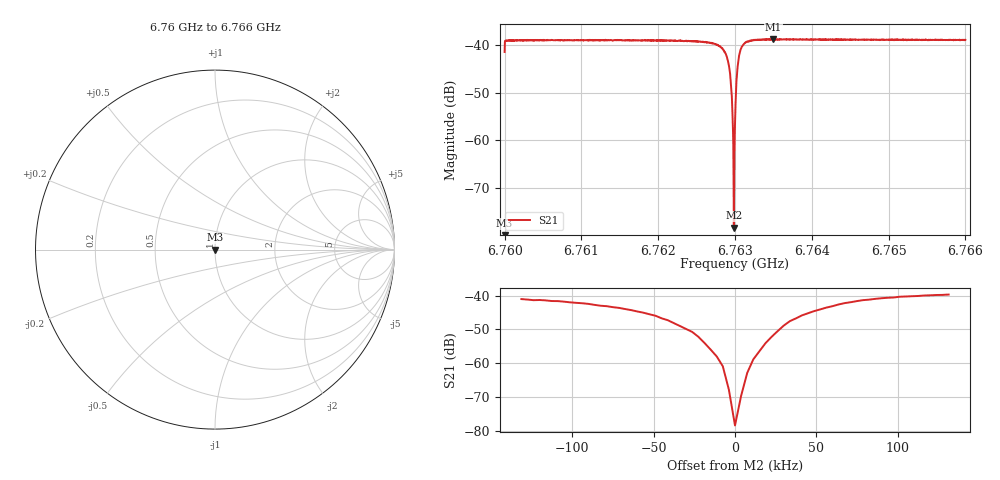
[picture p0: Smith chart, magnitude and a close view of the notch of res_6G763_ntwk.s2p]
!Created with skrf (http://scikit-rf.org).
# Hz S RI R 50.0
!freq ReS11 ImS11 ReS21 ImS21 ReS12 ImS12 ReS22 ImS22
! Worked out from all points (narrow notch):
!   1601 points, 6.76 GHz to 6.766 GHz, reference 50 ohm
!   highest |S21| = -38.70 dB at 6.763499 GHz (marker M1); lowest = -78.3 dB at 6.762985 GHz (marker M2)
!   notch at M2: 39.4 dB deep, 22 kHz wide at half that depth
!   lowest |S11| = - dB at 6.76 GHz (marker M3), VSWR 1.00, Z = 50 + j0 ohm
!   |S11| at or under -10 dB: start of sweep to end of sweep
!   S12 and S22 are empty: the file has one direction only
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6.76e9  0 0  -0.000518 -0.00849  0 0  0 0
6.7600412e9  0 0  -0.00159 -0.0111  0 0  0 0
6.7610012e9  0 0  -0.00741 -0.00857  0 0  0 0
6.7620025e9  0 0  -0.0109 -0.00276  0 0  0 0
6.76264e9  0 0  -0.0104 0.00233  0 0  0 0
6.762835e9  0 0  -0.00799 0.00461  0 0  0 0
6.7628875e9  0 0  -0.00608 0.00487  0 0  0 0
6.7629212e9  0 0  -0.00409 0.00451  0 0  0 0
6.7629438e9  0 0  -0.00247 0.00354  0 0  0 0
6.7629662e9  0 0  -0.00086 0.0018  0 0  0 0
6.762985e9  0 0  -0.000107 5.66e-05  0 0  0 0
6.763e9  0 0  7.01e-05 -0.00151  0 0  0 0
6.7630112e9  0 0  -0.000594 -0.00293  0 0  0 0
6.7630225e9  0 0  -0.00162 -0.00431  0 0  0 0
6.7630375e9  0 0  -0.00348 -0.00519  0 0  0 0
6.76306e9  0 0  -0.00636 -0.0053  0 0  0 0
6.76309e9  0 0  -0.0087 -0.00422  0 0  0 0
6.7632212e9  0 0  -0.0113 0.000298  0 0  0 0
6.7634988e9  0 0  -0.0108 0.0042  0 0  0 0
6.7640012e9  0 0  -0.00861 0.00768  0 0  0 0
6.7650025e9  0 0  -0.00285 0.0111  0 0  0 0
6.766e9  0 0  0.00344 0.0109  0 0  0 0
